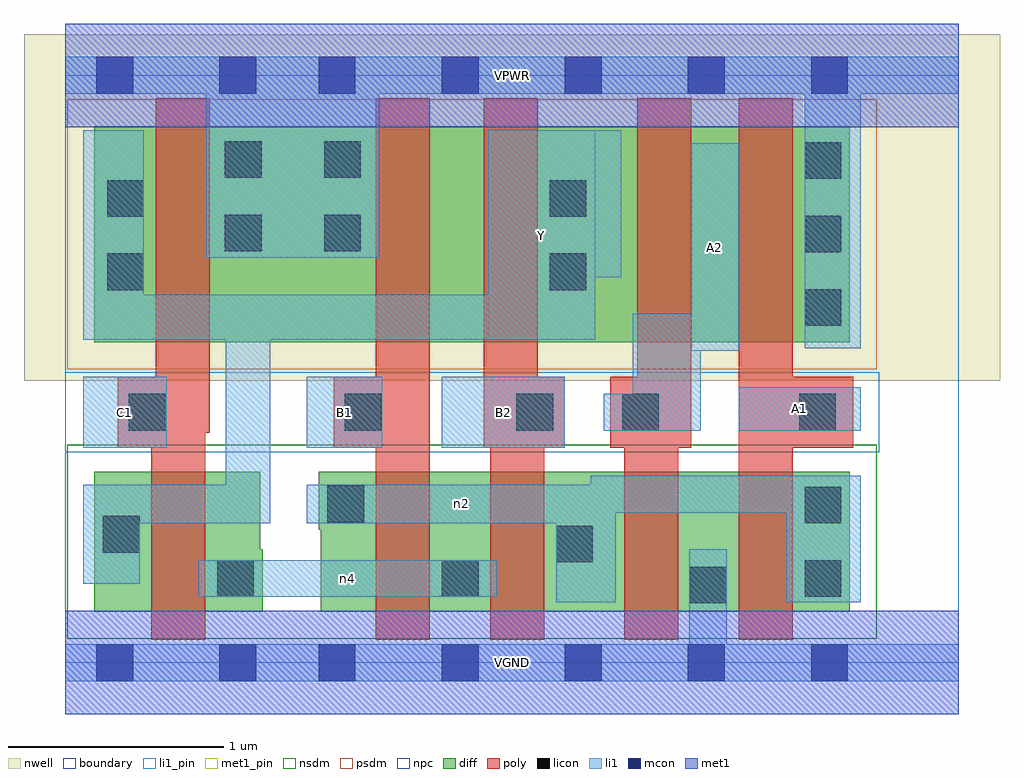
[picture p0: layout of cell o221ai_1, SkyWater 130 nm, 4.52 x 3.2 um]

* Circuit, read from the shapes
.subckt o221ai_1 A1 A2 B1 B2 C1 VGND VPWR Y n2 n4
XM1 n4 C1 Y VSUBS sky130_fd_pr__nfet_01v8 w=0.65 l=0.25
XM2 n4 B1 n2 VSUBS sky130_fd_pr__nfet_01v8 w=0.65 l=0.25
XM3 n2 B2 n4 VSUBS sky130_fd_pr__nfet_01v8 w=0.65 l=0.25
XM4 VGND A2 n2 VSUBS sky130_fd_pr__nfet_01v8 w=0.65 l=0.25
XM5 n2 A1 VGND VSUBS sky130_fd_pr__nfet_01v8 w=0.65 l=0.25
XM6 VPWR C1 Y n1 sky130_fd_pr__pfet_01v8 w=1 l=0.25
XM7 n3 B1 VPWR n1 sky130_fd_pr__pfet_01v8 w=1 l=0.25
XM8 Y B2 n3 n1 sky130_fd_pr__pfet_01v8 w=1 l=0.25
XM9 n5 A2 Y n1 sky130_fd_pr__pfet_01v8 w=1 l=0.25
XM10 VPWR A1 n5 n1 sky130_fd_pr__pfet_01v8 w=1 l=0.25
.ends

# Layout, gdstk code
import gdstk
lib = gdstk.Library(unit=1e-6, precision=1e-09)
def R(c, l, rs):  # rectangles x0, y0, x1, y1
    for r in rs: c.add(gdstk.rectangle(r[:2], r[2:], *l))
def A(c, l, x, y, w, h, nx, ny, dx, dy):  # array of equal rectangles
    R(c, l, [(x+i*dx, y+j*dy, x+i*dx+w, y+j*dy+h) for i in range(nx) for j in range(ny)])
nwell = (64, 20)
diff = (65, 20)
poly = (66, 20)
licon = (66, 44)
li1_pin = (67, 16)
li1 = (67, 20)
mcon = (67, 44)
met1_pin = (68, 16)
met1 = (68, 20)
nsdm = (93, 44)
psdm = (94, 20)
npc = (95, 20)
boundary = (235, 4)

o221ai_1 = lib.new_cell('o221ai_1')
R(o221ai_1, nwell, [(-0.19,1.305,4.33,2.91), (0,1.305,4.14,2.91)])
R(o221ai_1, diff, [(0.135,0.235,0.905,0.885), (0.135,0.235,0.915,0.525), (1.185,0.235,3.635,0.885), (1.175,0.615,3.635,0.885), (0.135,1.485,3.635,2.485)])
R(o221ai_1, poly, [(0.4,0.105,0.65,1.325), (1.44,0.105,1.69,2.615), (1.97,0.105,2.22,1.325), (2.59,0.105,2.84,1.325), (3.12,0.105,3.37,2.615), (0.245,0.995,0.65,1.325), (1.245,0.995,1.69,1.325), (1.94,0.995,2.19,2.615), (1.94,0.995,2.315,1.325), (2.525,0.995,2.9,1.325), (2.65,0.995,2.9,2.615), (3.12,0.995,3.65,1.325), (0.42,1.065,0.67,2.615)])
A(o221ai_1, licon, 3.425, 1.56, 0.17, 0.17, 1, 3, 0, 0.34)
R(o221ai_1, licon, [(2.895,0.275,3.065,0.445), (0.705,0.305,0.875,0.475), (1.745,0.305,1.915,0.475), (3.425,0.305,3.595,0.475), (2.275,0.465,2.445,0.635), (0.175,0.51,0.345,0.68), (3.425,0.645,3.595,0.815), (1.215,0.65,1.385,0.82), (0.295,1.075,0.465,1.245), (1.295,1.075,1.465,1.245), (2.09,1.075,2.26,1.245), (2.58,1.075,2.75,1.245), (3.4,1.075,3.57,1.245), (0.195,1.725,0.365,1.895), (2.245,1.725,2.415,1.895), (0.74,1.905,0.91,2.075), (1.2,1.905,1.37,2.075), (0.195,2.065,0.365,2.235), (2.245,2.065,2.415,2.235), (0.74,2.245,0.91,2.415), (1.2,2.245,1.37,2.415)])
R(o221ai_1, li1_pin, [(0.085,0.995,0.47,1.325), (1.12,0.995,1.47,1.325), (1.745,0.995,2.315,1.325), (3.12,1.075,3.685,1.275), (2.9,1.445,3.12,2.405), (1.96,1.495,2.455,2.465)])
R(o221ai_1, li1, [(0,-0.085,4.14,0.085), (2.89,-0.085,3.065,0.525), (2.275,0.28,2.55,0.825), (3.34,0.28,3.685,0.865), (0.62,0.305,2,0.475), (0.085,0.365,0.345,0.825), (0.085,0.645,0.95,0.825), (0.745,0.645,0.95,1.705), (1.12,0.645,2.55,0.825), (2.435,0.695,3.685,0.865), (0.085,0.995,0.47,1.325), (1.12,0.995,1.47,1.325), (1.745,0.995,2.315,1.325), (2.495,1.075,2.945,1.245), (2.63,1.075,2.945,1.615), (3.12,1.075,3.685,1.275), (2.9,1.445,3.12,2.405), (3.425,1.455,3.685,2.805), (0.085,1.495,2.455,1.705), (0.085,1.495,0.365,2.465), (1.96,1.495,2.455,2.465), (1.96,1.785,2.575,2.465), (0.655,1.875,1.455,2.805), (0,2.635,4.14,2.805)])
A(o221ai_1, mcon, 1.175, -0.085, 0.17, 0.17, 5, 2, 0.57, 2.72)
R(o221ai_1, mcon, [(0.145,-0.085,0.315,0.085), (0.715,-0.085,0.885,0.085), (0.145,2.635,0.315,2.805), (0.715,2.635,0.885,2.805)])
R(o221ai_1, met1_pin, [(0,-0.24,4.14,0.24), (0,2.48,4.14,2.96)])
R(o221ai_1, met1, [(0,-0.24,4.14,0.24), (0,2.48,4.14,2.96)])
R(o221ai_1, nsdm, [(0.01,0.11,3.76,1.01)])
R(o221ai_1, psdm, [(0.01,1.36,3.76,2.61)])
R(o221ai_1, npc, [(0,0.975,3.77,1.345)])
R(o221ai_1, boundary, [(0,0,4.14,2.72)])
o221ai_1.add(gdstk.Label('A1', (3.402,1.175), layer=67, texttype=5))
o221ai_1.add(gdstk.Label('A2', (3.01,1.925), layer=67, texttype=5))
o221ai_1.add(gdstk.Label('B1', (1.295,1.16), layer=67, texttype=5))
o221ai_1.add(gdstk.Label('B2', (2.03,1.16), layer=67, texttype=5))
o221ai_1.add(gdstk.Label('C1', (0.277,1.16), layer=67, texttype=5))
o221ai_1.add(gdstk.Label('Y', (2.207,1.98), layer=67, texttype=5))
o221ai_1.add(gdstk.Label('n4', (1.31,0.39), layer=67, texttype=5))
o221ai_1.add(gdstk.Label('n2', (1.835,0.735), layer=67, texttype=5))
o221ai_1.add(gdstk.Label('VPWR', (2.07,2.72), layer=68, texttype=5))
o221ai_1.add(gdstk.Label('VGND', (2.07,0), layer=68, texttype=5))
o221ai_1.add(gdstk.Label('A1', (3.402,1.175), layer=67, texttype=16))
o221ai_1.add(gdstk.Label('A2', (3.01,1.925), layer=67, texttype=16))
o221ai_1.add(gdstk.Label('B1', (1.295,1.16), layer=67, texttype=16))
o221ai_1.add(gdstk.Label('B2', (2.03,1.16), layer=67, texttype=16))
o221ai_1.add(gdstk.Label('C1', (0.277,1.16), layer=67, texttype=16))
o221ai_1.add(gdstk.Label('Y', (2.207,1.98), layer=67, texttype=16))
o221ai_1.add(gdstk.Label('VPWR', (2.07,2.72), layer=68, texttype=16))
o221ai_1.add(gdstk.Label('VGND', (2.07,0), layer=68, texttype=16))

lib.write_gds('o221ai_1.gds')
